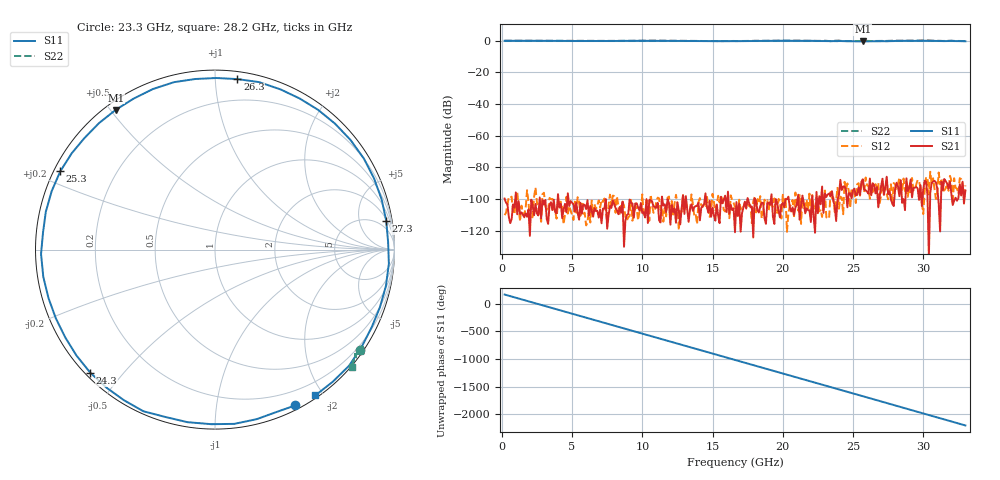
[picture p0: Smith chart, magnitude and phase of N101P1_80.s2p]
# GHZ S RI R 50
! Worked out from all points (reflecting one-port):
!   329 points, 200 MHz to 33 GHz, reference 50 ohm
!   lowest |S11| = -0.4 dB at 25.7 GHz (marker M1), VSWR 43.58, Z = 1.45 + j25.8 ohm
!   phase of S11 starts at 165 deg and turns -2369 deg over the sweep
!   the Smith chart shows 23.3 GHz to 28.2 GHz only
!   S11 on the Smith chart (normalised r, x): 23.3 GHz: 0.04, -1.64; 24.3 GHz: 0.01, -0.41; 25.3 GHz: 0.02, +0.24; 26.3 GHz: 0.05, +1.14; 27.3 GHz: 2, +12; 28.2 GHz: 0.03, -1.90
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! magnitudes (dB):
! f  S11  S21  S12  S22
! 200 MHz  0.0  -99.7  -110.1  0.0
! 5.7 GHz  -0.1  -109.2  -101.6  -0.1
! 11.2 GHz  -0.1  -113.5  -99.7  0.1
! 16.6 GHz  -0.3  -121.0  -105.1  -0.2
! 19.6 GHz  0.0  -102.3  -108.7  0.0
! 22.1 GHz  -0.1  -98.1  -97.5  0.0
! 22.6 GHz  -0.2  -98.2  -107.8  -0.1
! 23 GHz  -0.1  -96.6  -94.6  0.0
! 23.3 GHz  -0.2  -96.5  -112.0  -0.1
! 23.4 GHz  -0.3  -98.2  -95.6  -0.2
! 24 GHz  -0.1  -97.5  -106.1  0.1
! 24.3 GHz  -0.2  -92.1  -109.7  -0.1
! 25.3 GHz  -0.3  -97.4  -90.6  -0.2
! 25.7 GHz  -0.4  -87.5  -89.0  -0.2
! 26.3 GHz  -0.4  -97.6  -92.3  -0.1
! 27.3 GHz  -0.3  -92.5  -92.3  -0.1
! 27.6 GHz  -0.2  -95.1  -94.9  0.0
! 28.2 GHz  -0.1  -92.0  -90.8  0.0
! 30.3 GHz  0.0  -97.3  -86.8  0.2
! 31.4 GHz  -0.2  -94.3  -94.7  -0.1
! 32 GHz  -0.1  -96.4  -88.2  0.0
! 33 GHz  -0.3  -94.6  -91.4  -0.1
